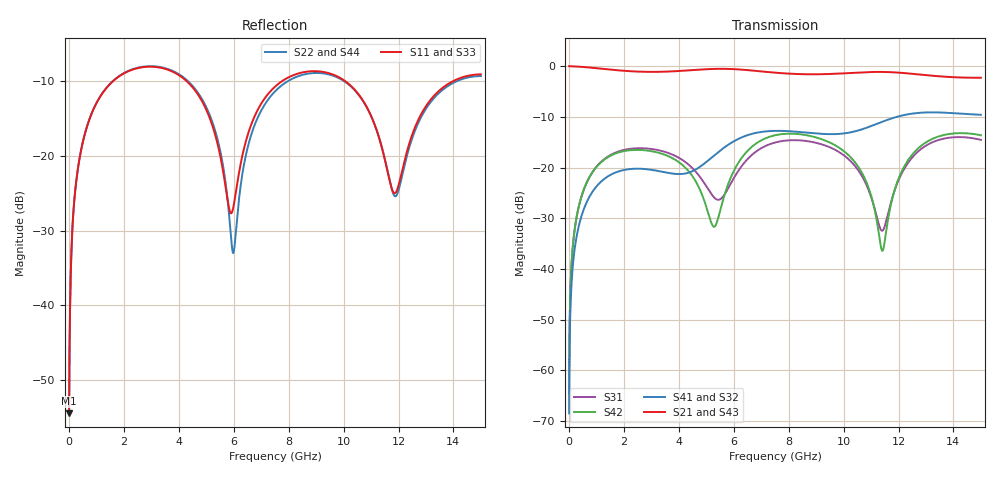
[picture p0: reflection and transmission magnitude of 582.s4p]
! Created with skrf 1.8.0 (http://scikit-rf.org).
# GHz S RI R 50.0
!freq ReS11 ImS11 ReS12 ImS12 ReS13 ImS13
! ReS14 ImS14
! ReS21 ImS21 ReS22 ImS22 ReS23 ImS23
! ReS24 ImS24
! ReS31 ImS31 ReS32 ImS32 ReS33 ImS33
! ReS34 ImS34
! ReS41 ImS41 ReS42 ImS42 ReS43 ImS43
! ReS44 ImS44
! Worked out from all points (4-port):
!   2499 points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, 5 MHz to 15 GHz, reference 50 ohm
!   strongest paths, dB at 5 MHz, 3.476 GHz, 7.19 GHz, 11.1 GHz, 15 GHz:
!     S21: 0.0, -1.1, -1.1, -1.2, -2.3
!     S43: 0.0, -1.1, -1.1, -1.2, -2.3
!     S41: -68.5, -20.9, -12.9, -11.6, -9.6
!     S32: -68.5, -21.0, -12.9, -11.6, -9.7
!     S42: -64.6, -17.5, -14.2, -27.5, -13.6
!     S31: -64.6, -16.9, -15.7, -27.5, -14.6
!   lowest |S11| = -54.4 dB at 5 MHz (marker M1), VSWR 1.00, Z = 50.2 + j0.116 ohm
!   |S11| at or under -10 dB: start of sweep to 1.61 GHz; 4.28 GHz to 7.768 GHz (3.488 GHz wide, 57.9 % of centre); 10.05 GHz to 14 GHz (3.948 GHz wide, 32.8 % of centre)
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0.005  0.00151 0.00115  0.9985 -0.00295  7.53e-05 0.000587  -7.31e-05 -0.00037
       0.9985 -0.00295  0.00151 0.00115  -7.31e-05 -0.00037  7.51e-05 0.000587
       7.53e-05 0.000587  -7.31e-05 -0.00037  0.00151 0.00115  0.9985 -0.00295
       -7.31e-05 -0.00037  7.51e-05 0.000587  0.9985 -0.00295  0.00151 0.00115
0.3126303  0.0209 0.0763  0.9714 -0.1839  0.0096 0.0351  -0.0078 -0.022
           0.9714 -0.1839  0.021 0.0763  -0.00779 -0.022  0.00904 0.0352
           0.0096 0.0351  -0.00779 -0.022  0.0209 0.0763  0.9714 -0.1839
           -0.0078 -0.022  0.00904 0.0352  0.9714 -0.1839  0.021 0.0763
1.569404  0.2485 0.1875  0.5935 -0.7033  0.1212 0.0603  -0.0852 -0.0133
          0.5935 -0.7033  0.2511 0.186  -0.085 -0.0134  0.1132 0.0699
          0.1212 0.0603  -0.085 -0.0134  0.2486 0.1875  0.5935 -0.7032
          -0.0852 -0.0133  0.1132 0.0699  0.5935 -0.7032  0.251 0.1861
5.758649  0.0425 -0.0319  -0.9265 -0.151  -0.0449 0.0395  -0.0224 0.1634
          -0.9265 -0.151  0.0247 -0.0487  -0.0261 0.1628  0.0316 0.0557
          -0.0449 0.0395  -0.0261 0.1628  0.0417 -0.0308  -0.9266 -0.1508
          -0.0224 0.1634  0.0316 0.0557  -0.9266 -0.1508  0.0248 -0.0477
9.285119  0.358 -0.0599  0.0343 0.8323  0.1496 -0.0732  0.1979 -0.0819
          0.0343 0.8323  0.352 -0.0454  0.198 -0.0731  0.1546 -0.1045
          0.1496 -0.0732  0.198 -0.0731  0.3602 -0.0629  0.0334 0.8319
          0.1979 -0.0819  0.1546 -0.1045  0.0334 0.8319  0.3515 -0.0413
11.411  0.0738 -0.0819  0.7996 0.3577  -0.0238 0.00092  0.1018 -0.2639
        0.7996 0.3577  0.0734 -0.0838  0.1153 -0.2583  -0.015 0.00119
        -0.0238 0.00092  0.1153 -0.2583  0.0698 -0.0845  0.7988 0.3595
        0.1018 -0.2639  -0.015 0.00119  0.7988 0.3595  0.0785 -0.0827
15  0.3499 -0.00704  0.1343 -0.756  0.1601 -0.097  -0.3303 0.0255
    0.1343 -0.756  0.3408 -0.00871  -0.3267 0.00453  0.166 -0.1254
    0.1601 -0.097  -0.3267 0.00453  0.3532 -0.0109  0.1374 -0.7559
    -0.3303 0.0255  0.166 -0.1254  0.1374 -0.7559  0.3356 -0.00172
